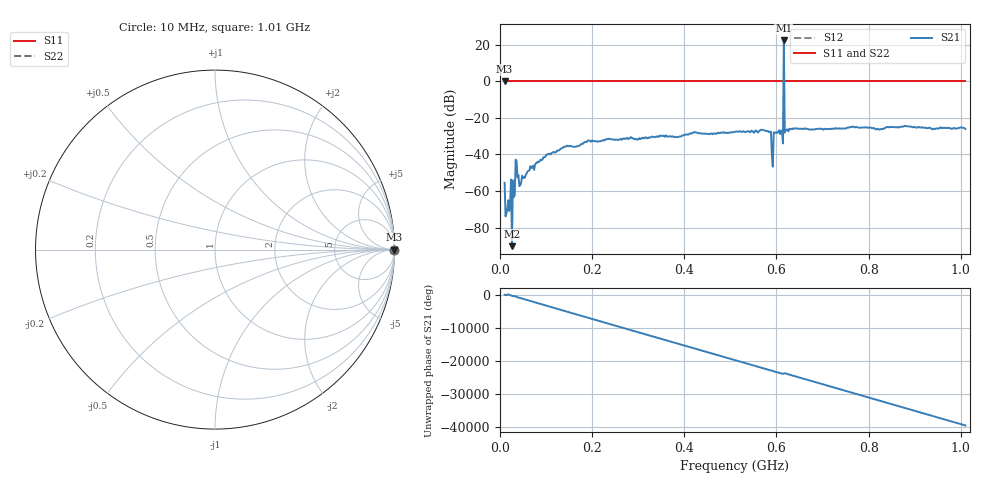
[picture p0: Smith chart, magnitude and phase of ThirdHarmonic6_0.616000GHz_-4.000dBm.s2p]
! 8/15/2025 8:12:52 PM
! C:\ANRITSUVNA\TEMP\TEMP.S2P
! CHANNEL.1
! TR.MEASUREMENT
! RAW.DATA
! RF.CORRECTION.OFF
! AVERAGING.OFF
! IF.BANDWIDTH: 5KHZ
! SWEEPTYPE:  FREQ.SWEEP(Linear)
! Reference Plane Port Info
! PORT:  PORT1  PORT2
! DISTANCE:  0  m  0  m
! TIME:  0  s  0  s
! PHASE.OFFSET:  0  deg.  0  deg.
! LOSS:  0  dB  0  dB
! REF.LOSS:  0  dB  0  dB
! REF.FREQ:  0  Hz  0  Hz
! Power Info
! POWER:  -20  dBm  -20  dBm
! EFF.POWER:  -20  dBm  -20  dBm
! SOURCE.ATTEN:  0  dB  0  dB
! TEST.ATTEN:  0  dB  0  dB
# GHZ S RI R 50.0
! FREQ.GHZ  S11RE  S11IM  S21RE  S21IM  S12RE  S12IM  S22RE  S22IM
!; PortSelection: Port_12
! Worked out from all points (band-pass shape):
!   501 points, 10 MHz to 1.01 GHz, reference 50 ohm
!   highest |S21| = 22.41 dB at 616 MHz (marker M1); lowest = -90.2 dB at 26 MHz (marker M2)
!   |S21| within 3 dB of the highest: 615.8936 MHz to 616.1188 MHz (225.2 kHz wide, 0.0366 % of centre)
!   lowest |S11| = 0.0 dB at 10 MHz (marker M3)
!   |S11| at or under -10 dB: nowhere
!   |S22| runs from 0.0 to 0.0 dB; largest |S21 - S12| = 13
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0.01  1 0  -0.000599 0.00157  1 0  1 0
0.016  1 0  -0.000316 -3.98e-05  1 0  1 0
0.026  1 0  -3.09e-05 -5e-07  1 0  1 0
0.032  1 0  0.00076 8.47e-05  1 0  1 0
0.038  1 0  -0.00166 0.00166  1 0  1 0
0.046  1 0  -0.00144 0.000886  1 0  1 0
0.104  1 0  0.00618 -0.00829  1 0  1 0
0.178  1 0  -0.0193 -0.00383  1 0  1 0
0.344  1 0  0.0292 -0.00746  1 0  1 0
0.51  1 0  -0.0376 0.0173  1 0  1 0
0.584  1 0  0.0232 0.0334  1 0  1 0
0.588  1 0  -0.00794 -0.041  1 0  1 0
0.594  1 0  0.0379 0.0113  1 0  1 0
0.598  1 0  -0.0319 -0.0231  1 0  1 0
0.61  1 0  -0.0102 0.0433  1 0  1 0
0.612  1 0  0.042 0.0162  1 0  1 0
0.616  1 0  0.5467 13.19  1 0  1 0
0.62  1 0  0.0245 0.0383  1 0  1 0
0.622  1 0  0.0443 -0.0179  1 0  1 0
0.678  1 0  -0.0269 -0.0397  1 0  1 0
0.844  1 0  0.0454 0.0318  1 0  1 0
1.01  1 0  -0.0495 -0.0056  1 0  1 0
